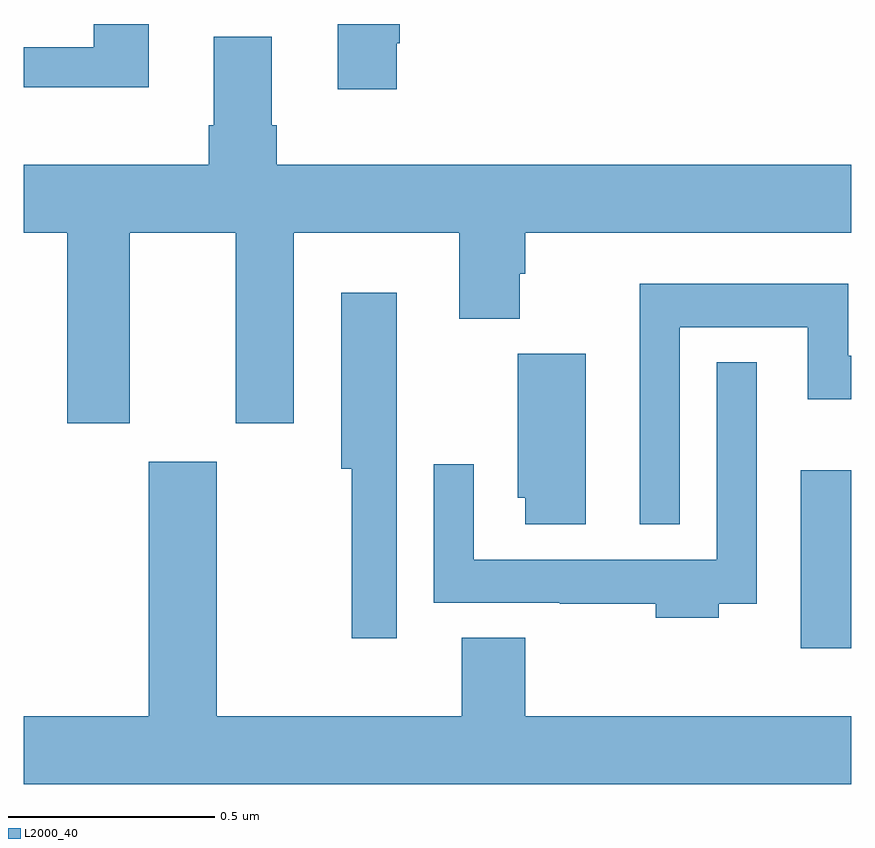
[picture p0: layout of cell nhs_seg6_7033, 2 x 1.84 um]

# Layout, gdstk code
import gdstk
lib = gdstk.Library(unit=1e-6, precision=1e-09)
def R(c, l, rs):  # rectangles x0, y0, x1, y1
    for r in rs: c.add(gdstk.rectangle(r[:2], r[2:], *l))
def P(c, l, *ps):  # polygons
    for p in ps: c.add(gdstk.Polygon(p, *l))
L2000_40 = (2000, 40)

nhs_seg6_7033 = lib.new_cell('nhs_seg6_7033')
R(nhs_seg6_7033, L2000_40, [(204.878,952.992,205,953.422)])
P(nhs_seg6_7033, L2000_40, [(203.902,954.454),(203.909,954.454),(203.909,954.5),(203.759,954.5),(203.759,954.342),(203.902,954.342)],
  [(203.302,954.5),(203.169,954.5),(203.169,954.444),(203,954.444),(203,954.347),(203.302,954.347)],
  [(203.257,953.996),(203.513,953.996),(203.513,953.535),(203.653,953.535),(203.653,953.996),(204.052,953.996),(204.052,953.788),(204.199,953.788),(204.199,953.897),(204.212,953.897),(204.212,953.996),(205,953.996),(205,954.16),(203.612,954.16),(203.612,954.256),(203.599,954.256),(203.599,954.469),(203.459,954.469),(203.459,954.256),(203.447,954.256),(203.447,954.16),(203,954.16),(203,953.996),(203.105,953.996),(203.105,953.535),(203.257,953.535)],
  [(204.585,953.768),(204.894,953.768),(204.894,953.594),(205,953.594),(205,953.698),(204.992,953.698),(204.992,953.872),(204.488,953.872),(204.488,953.291),(204.585,953.291)],
  [(203.901,953.53),(203.902,953.53),(203.902,953.851),(203.768,953.851),(203.768,953.426),(203.793,953.426),(203.793,953.016),(203.901,953.016)],
  [(204.358,953.703),(204.194,953.703),(204.194,953.355),(204.212,953.355),(204.212,953.292),(204.358,953.292)],
  [(204.679,953.1),(204.771,953.1),(204.771,953.683),(204.675,953.683),(204.675,953.206),(204.087,953.206),(204.087,953.437),(203.991,953.437),(203.991,953.102),(204.295,953.102),(204.295,953.1),(204.527,953.1),(204.527,953.066),(204.679,953.066)],
  [(205,952.828),(204.212,952.828),(204.212,953.017),(204.059,953.017),(204.059,952.828),(203.467,952.828),(203.467,953.443),(203.303,953.443),(203.303,952.828),(203,952.828),(203,952.664),(205,952.664)])

lib.write_gds('nhs_seg6_7033.gds')
